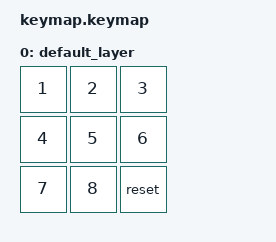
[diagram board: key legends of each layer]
// A simple 3x3 numpad layout with RESET key
keymap {
  compatible = "zmk,keymap";

  default_layer {
    bindings = <
      &kp N1    &kp N2    &kp N3
      &kp N4    &kp N5    &kp N6
      &kp N7    &kp N8    &reset
    >;
  };
};
